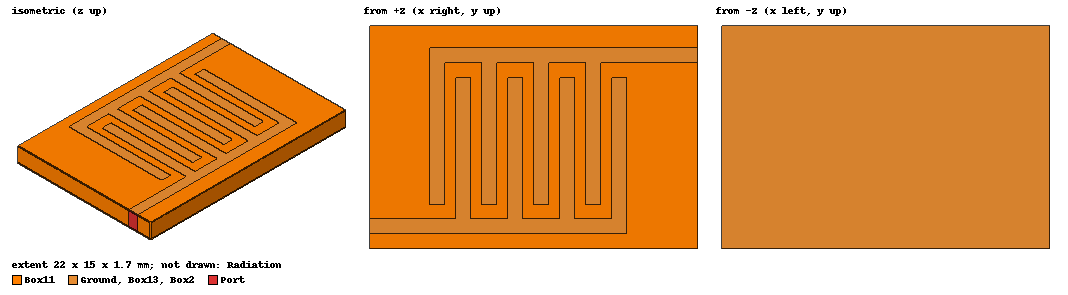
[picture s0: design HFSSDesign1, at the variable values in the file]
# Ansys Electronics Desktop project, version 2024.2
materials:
  vacuum: permittivity=1
  copper: permeability=0.999991 conductivity=58000000
  FR4_epoxy: permittivity=4.4 dielectric_loss_tangent=0.02
  air: permittivity=1.0006 permeability=1.0000004
  FR4_epoxy - Copy: permittivity=4.28 dielectric_loss_tangent=0.02

design HFSSDesign1 (HFSS, HFSS Terminal Network, model units mm)
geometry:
  Box1 = box(corner=(0mm, 1mm, 0mm), size=(1mm, 9.5mm, -0.1mm))
  Box2 [copper] = box(corner=(1.75mm, 0mm, 0mm), size=(1mm, 9.5mm, -0.1mm))
  Box3 = box(corner=(3.5mm, 1mm, 0mm), size=(1mm, 9.5mm, -0.1mm))
  Box4 = box(corner=(5.25mm, 0mm, 0mm), size=(1mm, 9.5mm, -0.1mm))
  Box5 = box(corner=(7mm, 1mm, 0mm), size=(1mm, 9.5mm, -0.1mm))
  Box6 = box(corner=(8.75mm, 0mm, 0mm), size=(1mm, 9.5mm, -0.1mm))
  Box7 = box(corner=(10.5mm, 1mm, 0mm), size=(1mm, 10.5mm, -0.1mm))
  Box8 = box(corner=(12.25mm, 0mm, 0mm), size=(1mm, 9.5mm, -0.1mm))
  Box9 = box(corner=(0mm, 10.5mm, 0mm), size=(16mm, 1mm, -0.1mm))
  Box10 = box(corner=(13.25mm, -1mm, 0mm), size=(-16mm, 1mm, -0.1mm))
  Box1.unite(Box3, Box5, Box7, Box9)
  Box2.unite(Box4, Box6, Box8, Box10)
  Box11 [FR4_epoxy - Copy] = box(corner=(-4mm, 13mm, 0mm), size=(22mm, -15mm, -1.6mm))
  Box12 = box(corner=(-2.75mm, 0mm, 0mm), size=(-1.25mm, -1mm, -0.1mm))
  Box2.unite(Box12)
  Box13 [copper] = box(corner=(16mm, 10.5mm, 0mm), size=(2mm, 1mm, -0.1mm))
  Box13.unite(Box1)
  Port = rectangle(corner=(18mm, 10.5mm, 0mm), y_size=1mm, z_size=-1.6mm)
  Port_2 = rectangle(corner=(-4mm, 0mm, 0mm), y_size=-1mm, z_size=-1.6mm)
  Radiation [air] = box(corner=(-6mm, -5mm, -3mm), size=(25mm, 20mm, 6mm))
  Ground [copper] = box(corner=(18mm, 13mm, -1.6mm), size=(-22mm, -15mm, -0.1mm))
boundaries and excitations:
  PerfE1: Perfect E Objects=[Box2, Box13, Ground]
  Rad1: Radiation Objects=Radiation
  1: Lumped Port Objects=Port LumpedPortType=Modal Modes{Mode1{IntLine{(18, 11, -1.6) -> (18, 11, 0)} CharImp=Zpi}} Impedance=50ohm
  2: Lumped Port Objects=Port_2 LumpedPortType=Modal Modes{Mode1{IntLine{(-4, -0.5, -1.6) -> (-4, -0.5, 0)} CharImp=Zpi}} Impedance=50ohm
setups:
  Setup1: HfssDriven Frequency=2.4GHz MaxDeltaS=0.02 MaximumPasses=20 MinimumPasses=1 MinimumConvergedPasses=1 PercentRefinement=30 BasisOrder=1 PortAccuracy=2 DrivenSolverType="Direct Solver"
    sweep Sweep: 1.2GHz to 3.6GHz step 0.01GHz; Type=Interpolating InterpTolerance=0.5 InterpMaxSolns=250 PassivityErrorTolerance=0.0001
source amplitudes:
  1:1: 1V 0deg
  2:1: 0V 0deg
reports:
  S Parameter Plot 1: dB(S(1,1)), dB(S(2,1)) vs Freq on Setup1 : Sweep; markers m1 at 2.4GHz, m2 at 2.4GHz, m3 at 2.39GHz
  S Parameter Plot 2: dB(S(1,1)), dB(S(2,1)) vs Freq on Setup1 : Sweep
